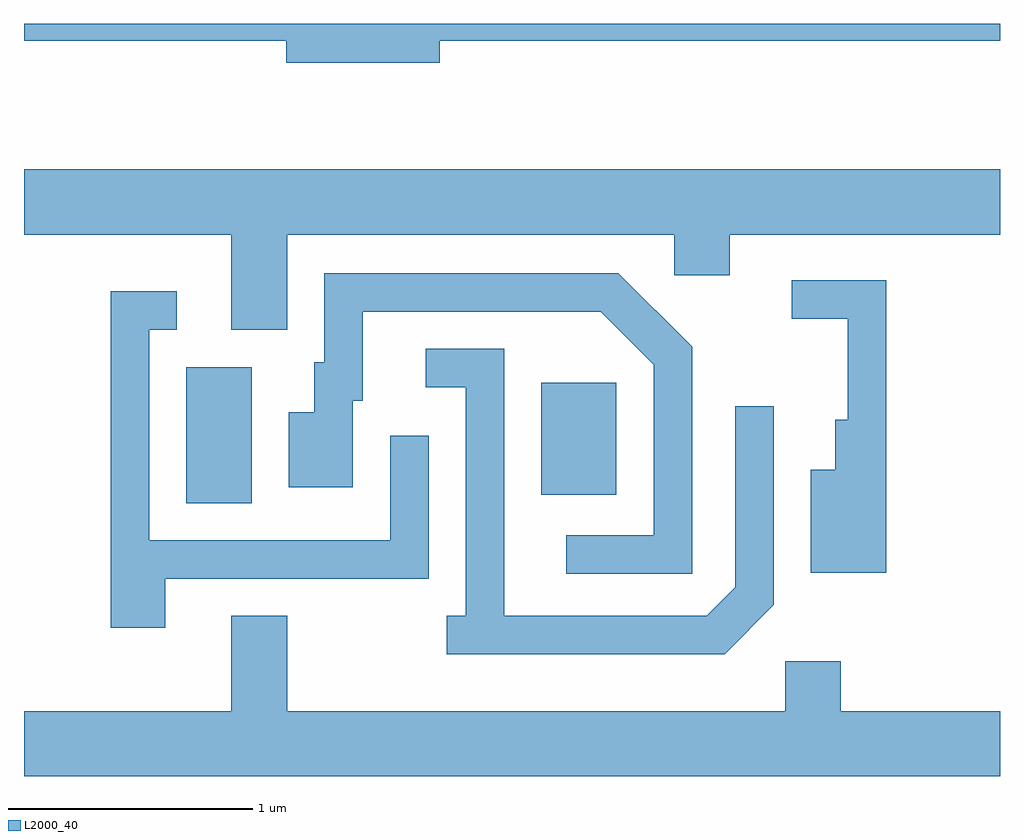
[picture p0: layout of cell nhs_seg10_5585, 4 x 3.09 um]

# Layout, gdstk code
import gdstk
lib = gdstk.Library(unit=1e-6, precision=1e-09)
def R(c, l, rs):  # rectangles x0, y0, x1, y1
    for r in rs: c.add(gdstk.rectangle(r[:2], r[2:], *l))
def P(c, l, *ps):  # polygons
    for p in ps: c.add(gdstk.Polygon(p, *l))
L2000_40 = (2000, 40)

nhs_seg10_5585 = lib.new_cell('nhs_seg10_5585')
R(nhs_seg10_5585, L2000_40, [(350.276,2150.556,350.544,2151.114), (351.731,2150.591,352.039,2151.049)])
P(nhs_seg10_5585, L2000_40, [(351.314,2152.451),(353.611,2152.451),(353.611,2152.522),(349.611,2152.522),(349.611,2152.451),(350.686,2152.451),(350.686,2152.361),(351.314,2152.361)],
  [(350.689,2151.656),(352.276,2151.656),(352.276,2151.491),(352.504,2151.491),(352.504,2151.656),(353.611,2151.656),(353.611,2151.924),(349.611,2151.924),(349.611,2151.656),(350.461,2151.656),(350.461,2151.266),(350.689,2151.266)],
  [(352.349,2151.197),(352.047,2151.499),(350.841,2151.499),(350.841,2151.134),(350.801,2151.134),(350.801,2150.929),(350.696,2150.929),(350.696,2150.621),(350.959,2150.621),(350.959,2150.976),(350.999,2150.976),(350.999,2151.341),(351.974,2151.341),(352.191,2151.124),(352.191,2150.424),(351.833,2150.424),(351.833,2150.266),(352.349,2150.266)],
  [(353.144,2151.469),(352.758,2151.469),(352.758,2151.311),(352.986,2151.311),(352.986,2150.899),(352.936,2150.899),(352.936,2150.694),(352.836,2150.694),(352.836,2150.271),(353.144,2150.271)],
  [(350.189,2150.246),(351.269,2150.246),(351.269,2150.833),(351.111,2150.833),(351.111,2150.404),(350.124,2150.404),(350.124,2151.266),(350.238,2151.266),(350.238,2151.424),(349.966,2151.424),(349.966,2150.046),(350.189,2150.046)],
  [(352.684,2150.139),(352.684,2150.953),(352.526,2150.953),(352.526,2150.212),(352.409,2150.094),(351.579,2150.094),(351.579,2151.189),(351.258,2151.189),(351.258,2151.031),(351.421,2151.031),(351.421,2150.094),(351.343,2150.094),(351.343,2149.936),(352.482,2149.936)],
  [(353.611,2149.704),(352.959,2149.704),(352.959,2149.909),(352.731,2149.909),(352.731,2149.704),(350.689,2149.704),(350.689,2150.094),(350.461,2150.094),(350.461,2149.704),(349.611,2149.704),(349.611,2149.436),(353.611,2149.436)])

lib.write_gds('nhs_seg10_5585.gds')
